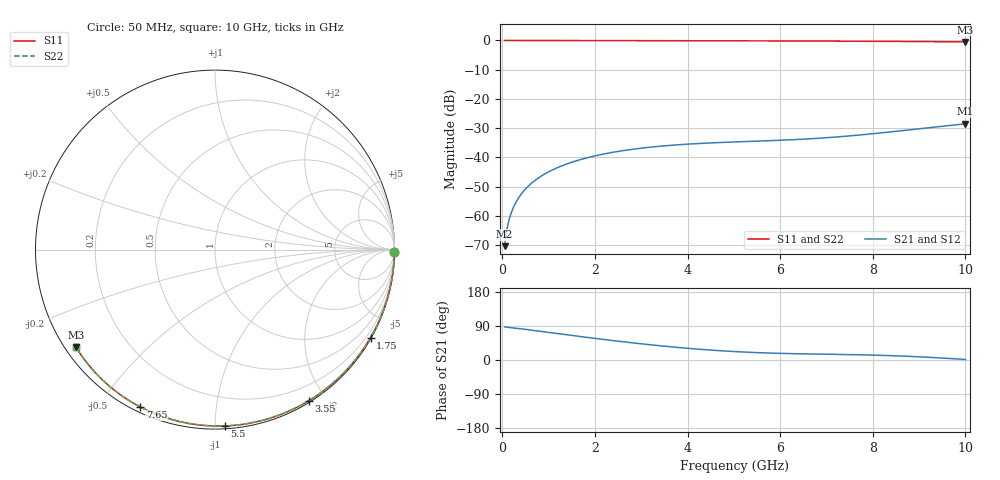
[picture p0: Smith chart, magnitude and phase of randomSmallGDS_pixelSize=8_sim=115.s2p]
! freq	dB(S11)	phase(S11)	dB(S12)	phase(S12)
!  dB(S21)	phase(S21)	dB(S22)	phase(S22)
!S-par simulation data
#  GHz  S  DB  R 50
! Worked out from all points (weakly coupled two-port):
!   200 points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, 50 MHz to 10 GHz, reference 50 ohm
!   highest |S21| = -28.49 dB at 10 GHz (marker M1); lowest = -70.3 dB at 50 MHz (marker M2)
!   lowest |S11| = -0.5 dB at 10 GHz (marker M3), VSWR 36.25, Z = 1.52 - j15.8 ohm
!   |S11| at or under -10 dB: nowhere
!   |S22| runs from -0.5 to 0.0 dB; largest |S21 - S12| = 0
!   S11 on the Smith chart (normalised r, x): 50 MHz: open; 1.75 GHz: 0.03, -3.80; 3.55 GHz: 0.02, -1.80; 5.5 GHz: 0.02, -1.06; 7.65 GHz: 0.02, -0.63; 10 GHz: 0.03, -0.32
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0.05  -0.00 -0.9  -70.33 87.6  -70.33 87.6  -0.00 -0.9
0.1  -0.00 -1.7  -64.48 86.5  -64.48 86.5  -0.00 -1.7
0.15  -0.00 -2.6  -61.07 85.8  -61.07 85.8  -0.00 -2.6
0.2  -0.00 -3.4  -58.63 85.2  -58.63 85.2  -0.00 -3.4
0.25  -0.00 -4.3  -56.72 84.6  -56.72 84.6  -0.00 -4.3
0.35  -0.00 -6.0  -53.84 83.2  -53.84 83.2  -0.00 -6.0
0.5  -0.01 -8.5  -50.79 80.9  -50.79 80.9  -0.01 -8.5
0.7  -0.01 -11.9  -47.92 77.7  -47.92 77.7  -0.01 -11.9
1  -0.02 -17.0  -44.92 72.9  -44.92 72.9  -0.02 -17.0
1.35  -0.03 -22.8  -42.47 67.2  -42.47 67.2  -0.03 -22.8
1.75  -0.04 -29.5  -40.45 60.9  -40.45 60.9  -0.04 -29.5
2.5  -0.05 -41.7  -37.93 49.6  -37.93 49.6  -0.05 -41.7
3.4  -0.07 -55.8  -36.17 37.6  -36.17 37.6  -0.07 -55.8
3.55  -0.08 -58.2  -35.96 35.9  -35.96 35.9  -0.08 -58.2
4.3  -0.10 -69.5  -35.18 28.0  -35.18 28.0  -0.10 -69.5
5.05  -0.12 -80.4  -34.68 22.0  -34.68 22.0  -0.12 -80.4
5.5  -0.14 -86.7  -34.42 19.5  -34.42 19.5  -0.14 -86.7
6.7  -0.20 -103.0  -33.56 15.8  -33.56 15.8  -0.20 -103.0
7.65  -0.26 -115.4  -32.42 13.9  -32.42 13.9  -0.26 -115.4
8.35  -0.31 -124.3  -31.32 11.6  -31.32 11.6  -0.31 -124.3
9.2  -0.39 -134.9  -29.87 7.1  -29.87 7.1  -0.39 -134.9
10  -0.48 -144.8  -28.49 1.5  -28.49 1.5  -0.48 -144.8
